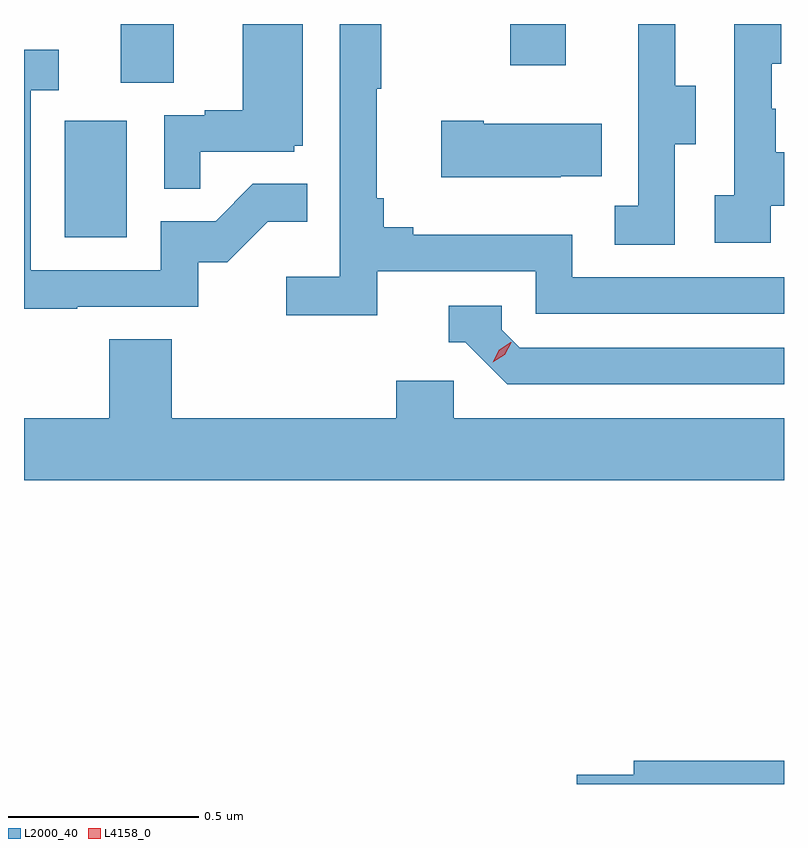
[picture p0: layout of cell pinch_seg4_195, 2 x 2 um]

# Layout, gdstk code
import gdstk
lib = gdstk.Library(unit=1e-6, precision=1e-09)
def R(c, l, rs):  # rectangles x0, y0, x1, y1
    for r in rs: c.add(gdstk.rectangle(r[:2], r[2:], *l))
def P(c, l, *ps):  # polygons
    for p in ps: c.add(gdstk.Polygon(p, *l))
L2000_40 = (2000, 40)
L4158_0 = (4158, 0)

pinch_seg4_195 = lib.new_cell('pinch_seg4_195')
R(pinch_seg4_195, L2000_40, [(964.076,824.1,964.24,824.407), (964.223,824.506,964.363,824.661), (965.248,824.553,965.395,824.661)])
P(pinch_seg4_195, L2000_40, [(964.898,824.01),(965.316,824.01),(965.316,823.899),(965.969,823.899),(965.969,823.995),(965.412,823.995),(965.412,824.107),(964.993,824.107),(964.993,824.126),(964.916,824.126),(964.916,824.203),(964.897,824.203),(964.897,824.491),(964.909,824.491),(964.909,824.661),(964.8,824.661),(964.8,823.996),(964.659,823.996),(964.659,823.894),(964.898,823.894)],
  [(964.433,824.325),(964.68,824.325),(964.68,824.34),(964.702,824.34),(964.702,824.661),(964.544,824.661),(964.544,824.434),(964.445,824.434),(964.445,824.421),(964.338,824.421),(964.338,824.227),(964.433,824.227)],
  [(965.682,824.344),(965.737,824.344),(965.737,824.499),(965.683,824.499),(965.683,824.661),(965.585,824.661),(965.585,824.487),(965.586,824.487),(965.586,824.183),(965.523,824.183),(965.523,824.08),(965.682,824.08)],
  [(965.934,824.183),(965.969,824.183),(965.969,824.323),(965.947,824.323),(965.947,824.438),(965.937,824.438),(965.937,824.556),(965.962,824.556),(965.962,824.661),(965.838,824.661),(965.838,824.21),(965.787,824.21),(965.787,824.085),(965.934,824.085)],
  [(964.109,823.917),(964.428,823.917),(964.428,824.034),(964.504,824.034),(964.611,824.141),(964.715,824.141),(964.715,824.24),(964.571,824.24),(964.473,824.142),(964.329,824.142),(964.329,824.013),(963.987,824.013),(963.987,824.487),(964.06,824.487),(964.06,824.593),(963.969,824.593),(963.969,823.912),(964.109,823.912)],
  [(965.381,824.261),(965.489,824.261),(965.489,824.398),(965.179,824.398),(965.179,824.406),(965.067,824.406),(965.067,824.258),(965.381,824.258)],
  [(965.969,823.809),(965.274,823.809),(965.226,823.857),(965.226,823.92),(965.087,823.92),(965.087,823.824),(965.13,823.824),(965.241,823.713),(965.969,823.713)],
  [(965.969,823.624),(965.1,823.624),(965.1,823.722),(964.949,823.722),(964.949,823.624),(964.358,823.624),(964.358,823.832),(964.193,823.832),(964.193,823.624),(963.969,823.624),(963.969,823.46),(965.969,823.46)],
  [(965.969,822.722),(965.573,822.722),(965.573,822.686),(965.424,822.686),(965.424,822.661),(965.969,822.661)])
P(pinch_seg4_195, L4158_0, [(965.202,823.771),(965.202,823.771),(965.219,823.804),(965.25,823.823),(965.251,823.823),(965.251,823.822),(965.234,823.79),(965.203,823.771)])

lib.write_gds('pinch_seg4_195.gds')
